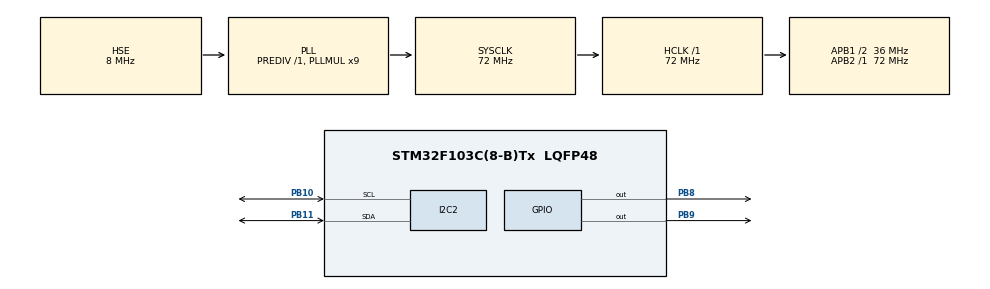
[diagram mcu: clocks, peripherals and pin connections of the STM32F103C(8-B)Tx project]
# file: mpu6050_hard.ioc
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Mcu.Family=STM32F1
Mcu.Name=STM32F103C(8-B)Tx
Mcu.Package=LQFP48
NVIC.PriorityGroup=NVIC_PRIORITYGROUP_4
PA13.Mode=Serial_Wire
PA13.Signal=SYS_JTMS-SWDIO
PA14.Mode=Serial_Wire
PA14.Signal=SYS_JTCK-SWCLK
PB10.Mode=I2C
PB10.Signal=I2C2_SCL
PB11.Mode=I2C
PB11.Signal=I2C2_SDA
PB8.GPIO_ModeDefaultOutputPP=GPIO_MODE_OUTPUT_OD
PB8.GPIO_PuPd=GPIO_NOPULL
PB8.Signal=GPIO_Output
PB9.GPIO_ModeDefaultOutputPP=GPIO_MODE_OUTPUT_OD
PB9.GPIO_PuPd=GPIO_NOPULL
PB9.Signal=GPIO_Output
PD0-OSC_IN.Mode=HSE-External-Oscillator
PD0-OSC_IN.Signal=RCC_OSC_IN
PD1-OSC_OUT.Mode=HSE-External-Oscillator
PD1-OSC_OUT.Signal=RCC_OSC_OUT
ProjectManager.HeapSize=0x200
ProjectManager.StackSize=0x400
ProjectManager.TargetToolchain=STM32CubeIDE
RCC.AHBFreq_Value=72000000
RCC.APB1CLKDivider=RCC_HCLK_DIV2
RCC.APB1Freq_Value=36000000
RCC.APB1TimFreq_Value=72000000
RCC.APB2Freq_Value=72000000
RCC.APB2TimFreq_Value=72000000
RCC.HCLKFreq_Value=72000000
RCC.PLLMUL=RCC_PLL_MUL9
RCC.PLLSourceVirtual=RCC_PLLSOURCE_HSE
RCC.SYSCLKFreq_VALUE=72000000
RCC.SYSCLKSource=RCC_SYSCLKSOURCE_PLLCLK
RCC.USBFreq_Value=72000000
board=custom

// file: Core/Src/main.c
/* USER CODE BEGIN Header */
/**
  ******************************************************************************
  * @file           : main.c
  * @brief          : Main program body
  ******************************************************************************
  * @attention
  *
  * Copyright (c) 2026 STMicroelectronics.
  * All rights reserved.
  *
  * This software is licensed under terms that can be found in the LICENSE file
  * in the root directory of this software component.
  * If no LICENSE file comes with this software, it is provided AS-IS.
  *
  ******************************************************************************
  */
/* USER CODE END Header */
#include "main.h"
#include "i2c.h"
#include "gpio.h"

/* USER CODE BEGIN Includes */
#include "oled.h"
/* USER CODE END Includes */

void SystemClock_Config(void);

int main(void)
{

  /* MCU Configuration--------------------------------------------------------*/

  /* Reset of all peripherals, Initializes the Flash interface and the Systick. */
  HAL_Init();

  /* Configure the system clock */
  SystemClock_Config();

  /* Initialize all configured peripherals */
  MX_GPIO_Init();
  MX_I2C2_Init();
  /* USER CODE BEGIN 2 */
  OLED_Init();
  MPU6050_Init(&hi2c2);
  int16_t ax, ay, az, gx, gy, gz;
  uint8_t device_id = MPU6050_ReadDeviceID(&hi2c2);
  OLED_ShowString(1, 1, "ID:");
  /* USER CODE END 2 */

  /* Infinite loop */
  /* USER CODE BEGIN WHILE */
  while (1)
  {
	  MPU6050_ReadAccel(&hi2c2, &ax, &ay, &az);
	  MPU6050_ReadGyro(&hi2c2, &gx, &gy, &gz);
	  OLED_ShowHexNum(1, 5, device_id, 2);
	  OLED_ShowSignedNum(2, 1, ax, 4);
	  OLED_ShowSignedNum(2, 8, gx, 4);
	  OLED_ShowSignedNum(3, 1, ay, 4);
	  OLED_ShowSignedNum(3, 8, gy, 4);
	  OLED_ShowSignedNum(4, 1, az, 4);
	  OLED_ShowSignedNum(4, 8, gz, 4);
	  HAL_Delay(500);
    /* USER CODE END WHILE */

  }
}

void SystemClock_Config(void)
{
  RCC_OscInitTypeDef RCC_OscInitStruct = {0};
  RCC_ClkInitTypeDef RCC_ClkInitStruct = {0};

  /** Initializes the RCC Oscillators according to the specified parameters
  * in the RCC_OscInitTypeDef structure.
  */
  RCC_OscInitStruct.OscillatorType = RCC_OSCILLATORTYPE_HSE;
  RCC_OscInitStruct.HSEState = RCC_HSE_ON;
  RCC_OscInitStruct.HSEPredivValue = RCC_HSE_PREDIV_DIV1;
  RCC_OscInitStruct.HSIState = RCC_HSI_ON;
  RCC_OscInitStruct.PLL.PLLState = RCC_PLL_ON;
  RCC_OscInitStruct.PLL.PLLSource = RCC_PLLSOURCE_HSE;
  RCC_OscInitStruct.PLL.PLLMUL = RCC_PLL_MUL9;
  if (HAL_RCC_OscConfig(&RCC_OscInitStruct) != HAL_OK)
  {
    Error_Handler();
  }

  /** Initializes the CPU, AHB and APB buses clocks
  */
  RCC_ClkInitStruct.ClockType = RCC_CLOCKTYPE_HCLK|RCC_CLOCKTYPE_SYSCLK
                              |RCC_CLOCKTYPE_PCLK1|RCC_CLOCKTYPE_PCLK2;
  RCC_ClkInitStruct.SYSCLKSource = RCC_SYSCLKSOURCE_PLLCLK;
  RCC_ClkInitStruct.AHBCLKDivider = RCC_SYSCLK_DIV1;
  RCC_ClkInitStruct.APB1CLKDivider = RCC_HCLK_DIV2;
  RCC_ClkInitStruct.APB2CLKDivider = RCC_HCLK_DIV1;

  if (HAL_RCC_ClockConfig(&RCC_ClkInitStruct, FLASH_LATENCY_2) != HAL_OK)
  {
    Error_Handler();
  }
}

void Error_Handler(void)
{
  __disable_irq();
  while (1)
  {
  }
}
